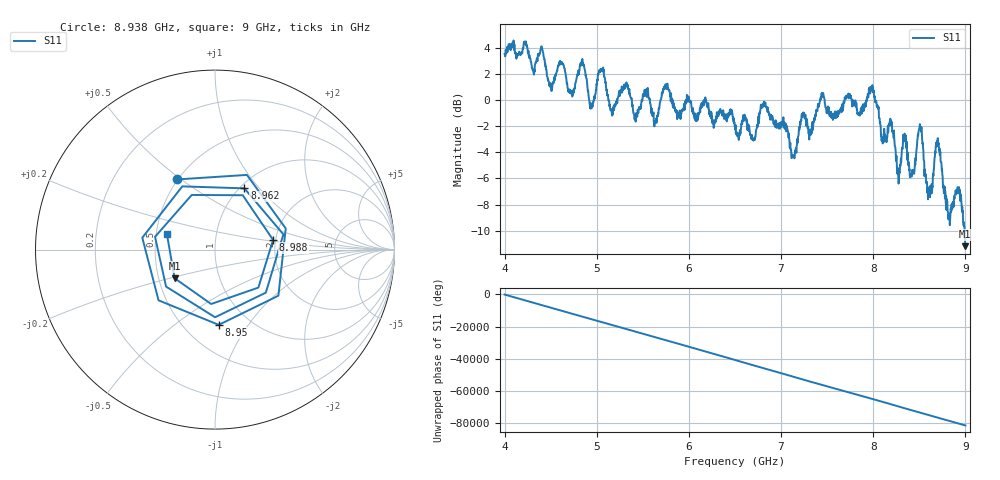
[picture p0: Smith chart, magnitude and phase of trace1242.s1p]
! Created with skrf 1.8.0 (http://scikit-rf.org).
# Hz S RI R 50.0
!freq ReS11 ImS11
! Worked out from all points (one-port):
!   1601 points, 4 GHz to 9 GHz, reference 50 ohm
!   lowest |S11| = -11.2 dB at 8.997 GHz (marker M1), VSWR 1.76, Z = 30.3 - j10.5 ohm
!   |S11| at or under -10 dB: 8.991847 GHz to end of sweep
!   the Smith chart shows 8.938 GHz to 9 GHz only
!   S11 on the Smith chart (normalised r, x): 8.938 GHz: 0.49, +0.48; 8.95 GHz: 0.73, -0.74; 8.962 GHz: 1.05, +0.84; 8.988 GHz: 1.94, +0.23; 9 GHz: 0.57, +0.11
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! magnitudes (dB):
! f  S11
! 4 GHz  3.6
! 4.625 GHz  2.8
! 4.725 GHz  0.6
! 4.85 GHz  2.9
! 4.941 GHz  -0.6
! 5.047 GHz  2.3
! 5.162 GHz  -0.9
! 5.25 GHz  0.3
! 5.875 GHz  -1.1
! 6.5 GHz  -2.0
! 6.825 GHz  -0.2
! 7.125 GHz  -4.2
! 7.444 GHz  0.6
! 7.75 GHz  0.3
! 7.984 GHz  0.8
! 8.272 GHz  -5.9
! 8.375 GHz  -4.6
! 8.425 GHz  -5.3
! 8.506 GHz  -1.8
! 8.606 GHz  -7.2
! 8.697 GHz  -3.4
! 8.812 GHz  -8.6
! 8.938 GHz  -7.0
! 8.95 GHz  -7.5
! 8.962 GHz  -8.4
! 8.988 GHz  -9.7
! 8.997 GHz  -11.2
! 9 GHz  -11.0
